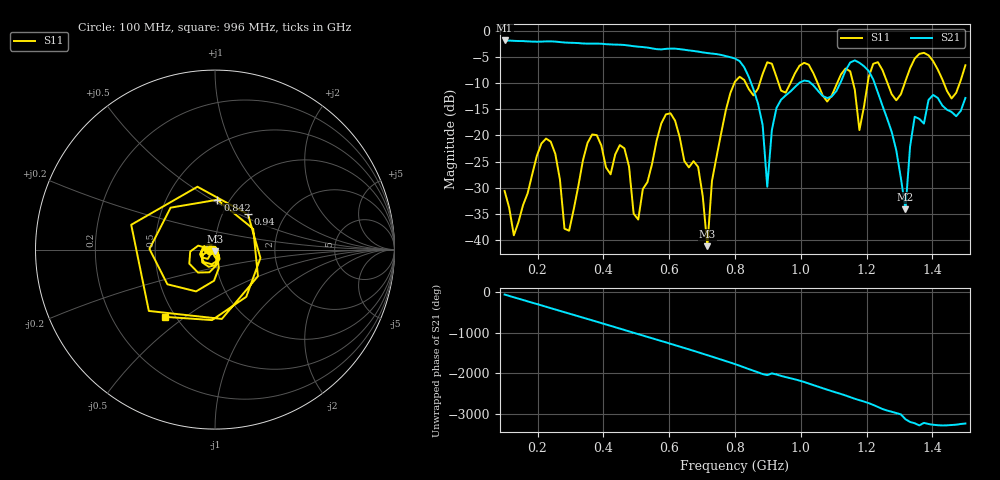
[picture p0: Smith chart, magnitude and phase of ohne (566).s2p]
! NanoVNA-App
! Date: 2025-09-25 14:25:12
! Start: 100MHz Stop: 1,5GHz Points: 101
! S-Parameter data: F S11 S21 S12 S22
# Hz S RI R 50
!  Frequency  S11_Real  S11_Imag  S21_Real  S21_Imag  S12_Real  S12_Imag  S22_Real  S22_Imag
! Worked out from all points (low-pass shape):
!   101 points, 100 MHz to 1.5 GHz, reference 50 ohm
!   highest |S21| = -1.79 dB at 100 MHz (marker M1); lowest = -34.1 dB at 1.318 GHz (marker M2)
!   |S21| within 3 dB of the highest: start of sweep to 772 MHz
!   lowest |S11| = -41.2 dB at 716 MHz (marker M3), VSWR 1.02, Z = 49.8 - j0.855 ohm
!   |S11| at or under -10 dB: start of sweep to 797.9 MHz; 833.1 MHz to 875.1 MHz (41.98 MHz wide, 4.91 % of centre); 1.051 GHz to 1.11 GHz (58.74 MHz wide, 5.44 % of centre) (the widest 3 of 7)
!   S12 and S22 are empty: the file has one direction only
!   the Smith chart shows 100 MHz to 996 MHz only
!   S11 on the Smith chart (normalised r, x): 100 MHz: 0.94, -0.01; 842 MHz: 0.88, +0.53; 940 MHz: 1.32, +0.56; 996 MHz: 0.44, -0.42
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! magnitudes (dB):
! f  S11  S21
! 100 MHz  -30.6  -1.8
! 128 MHz  -39.1  -1.9
! 226 MHz  -20.6  -2.0
! 296 MHz  -38.3  -2.2
! 338 MHz  -24.8  -2.4
! 464 MHz  -22.5  -2.7
! 506 MHz  -36.1  -3.0
! 576 MHz  -17.7  -3.5
! 688 MHz  -26.0  -3.9
! 716 MHz  -41.2  -4.2
! 800 MHz  -9.7  -5.3
! 842 MHz  -11.1  -8.8
! 898 MHz  -6.0  -29.8
! 940 MHz  -11.4  -13.1
! 996 MHz  -6.6  -9.9
! 1.038 GHz  -8.0  -10.4
! 1.178 GHz  -19.0  -6.1
! 1.22 GHz  -6.3  -9.3
! 1.276 GHz  -12.1  -19.3
! 1.318 GHz  -9.6  -34.1
! 1.346 GHz  -5.3  -16.4
! 1.5 GHz  -6.5  -12.8
